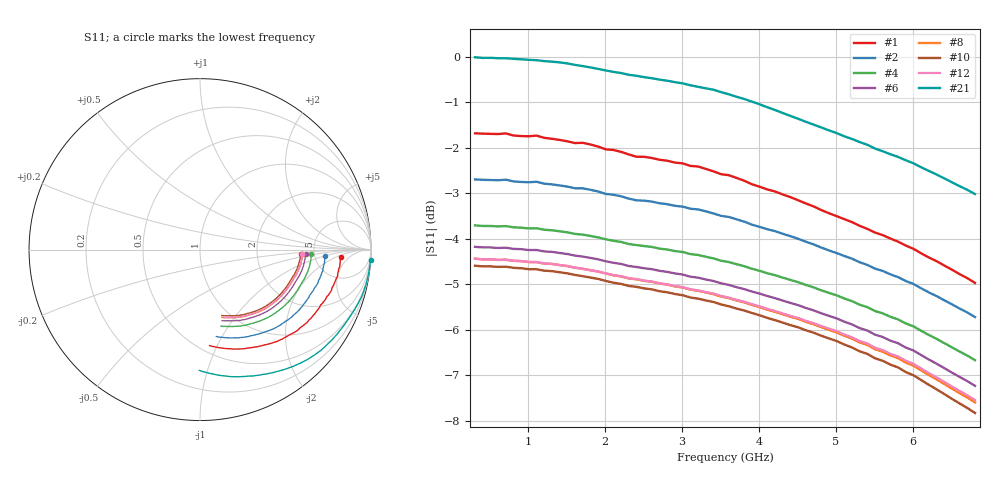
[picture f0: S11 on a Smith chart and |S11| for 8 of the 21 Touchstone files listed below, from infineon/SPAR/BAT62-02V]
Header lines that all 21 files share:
! Infineon Technologies  Discrete & RF Semiconductors
! BAT62-02V
! One-Port S-Parameters
# Hz  S  MA  R  50
!f  S11
!Hz  Mag  Ang
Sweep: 309.9 MHz to 6.807 GHz
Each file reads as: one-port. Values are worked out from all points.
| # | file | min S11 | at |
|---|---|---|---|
| 1 | BAT62-02V_IAC_0.1mA.s1p | -5.0 dB | 6.807 GHz |
| 2 | BAT62-02V_IAC_0.2mA.s1p | -5.7 dB | 6.807 GHz |
| 3 | BAT62-02V_IAC_0.3mA.s1p | -6.3 dB | 6.807 GHz |
| 4 | BAT62-02V_IAC_0.4mA.s1p | -6.7 dB | 6.807 GHz |
| 5 | BAT62-02V_IAC_0.5mA.s1p | -7.0 dB | 6.807 GHz |
| 6 | BAT62-02V_IAC_0.6mA.s1p | -7.2 dB | 6.807 GHz |
| 7 | BAT62-02V_IAC_0.7mA.s1p | -7.4 dB | 6.807 GHz |
| 8 | BAT62-02V_IAC_0.8mA.s1p | -7.6 dB | 6.807 GHz |
| 9 | BAT62-02V_IAC_0.9mA.s1p | -7.7 dB | 6.807 GHz |
| 10 | BAT62-02V_IAC_1mA.s1p | -7.8 dB | 6.807 GHz |
| 11 | BAT62-02V_IAC_2mA.s1p | -8.0 dB | 6.807 GHz |
| 12 | BAT62-02V_IAC_3mA.s1p | -7.5 dB | 6.807 GHz |
| 13 | BAT62-02V_IAC_4mA.s1p | -6.9 dB | 6.807 GHz |
| 14 | BAT62-02V_IAC_5mA.s1p | -6.9 dB | 6.807 GHz |
| 15 | BAT62-02V_IAC_6mA.s1p | -6.9 dB | 6.807 GHz |
| 16 | BAT62-02V_IAC_7mA.s1p | -6.9 dB | 6.807 GHz |
| 17 | BAT62-02V_IAC_8mA.s1p | -6.9 dB | 6.807 GHz |
| 18 | BAT62-02V_IAC_9mA.s1p | -6.9 dB | 6.807 GHz |
| 19 | BAT62-02V_IAC_10mA.s1p | -6.9 dB | 6.807 GHz |
| 20 | BAT62-02V_IAC_20mA.s1p | -6.9 dB | 6.807 GHz |
| 21 | BAT62-02V_VCA_0V.s1p | -3.0 dB | 6.807 GHz |
